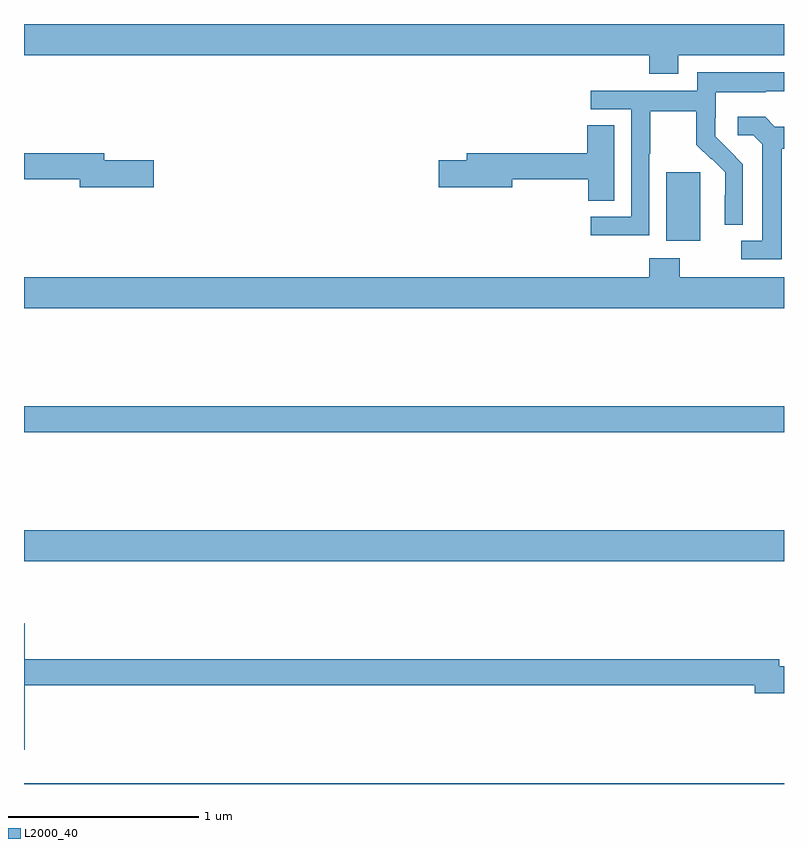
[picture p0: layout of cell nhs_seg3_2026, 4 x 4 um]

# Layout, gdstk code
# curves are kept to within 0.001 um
import gdstk
lib = gdstk.Library(unit=1e-6, precision=1e-09)
def R(c, l, rs):  # rectangles x0, y0, x1, y1
    for r in rs: c.add(gdstk.rectangle(r[:2], r[2:], *l))
def P(c, l, *ps):  # polygons
    for p in ps: c.add(gdstk.Polygon(p, *l))
L2000_40 = (2000, 40)

nhs_seg3_2026 = lib.new_cell('nhs_seg3_2026')
R(nhs_seg3_2026, L2000_40, [(215,710.4,219,710.404), (215,711.572,219,711.736), (215,712.252,219,712.388), (218.381,713.258,218.56,713.619)])
P(nhs_seg3_2026, L2000_40, [(218.443,714.236),(219,714.236),(219,714.4),(215,714.4),(215,714.236),(218.291,714.236),(218.291,714.137),(218.443,714.137)],
  [(218.292,713.716),(218.295,713.716),(218.295,713.94),(218.539,713.94),(218.539,713.765),(218.616,713.688),(218.619,713.691),(218.69,713.621),(218.69,713.498),(218.688,713.498),(218.688,713.344),(218.784,713.344),(218.784,713.662),(218.638,713.81),(218.638,713.907),(218.64,713.907),(218.64,714.041),(218.903,714.041),(218.903,714.045),(219,714.045),(219,714.145),(218.544,714.145),(218.544,714.048),(217.983,714.048),(217.983,713.952),(218.196,713.952),(218.196,713.385),(217.983,713.385),(217.983,713.287),(218.292,713.287)],
  [(218.989,713.744),(219,713.744),(219,713.859),(218.952,713.859),(218.9,713.911),(218.757,713.911),(218.757,713.814),(218.838,713.814),(218.885,713.767),(218.885,713.259),(218.775,713.259),(218.775,713.163),(218.989,713.163)],
  [(218.107,713.867),(217.964,713.867),(217.964,713.72),(217.331,713.72),(217.331,713.684),(217.182,713.684),(217.182,713.542),(217.57,713.542),(217.57,713.584),(217.969,713.584),(217.969,713.47),(218.107,713.47)],
  [(215.683,713.684),(215.422,713.684),(215.422,713.72),(215,713.72),(215,713.584),(215.294,713.584),(215.294,713.542),(215.683,713.542)],
  [(219,713.068),(218.451,713.068),(218.451,713.167),(218.291,713.167),(218.291,713.068),(215,713.068),(215,712.904),(219,712.904)],
  [(215.003,710.92),(218.846,710.92),(218.846,710.878),(219,710.878),(219,711.02),(218.974,711.02),(218.974,711.056),(215.003,711.056),(215.003,711.247),(215,711.247),(215,710.58),(215.003,710.58)])

lib.write_gds('nhs_seg3_2026.gds')
